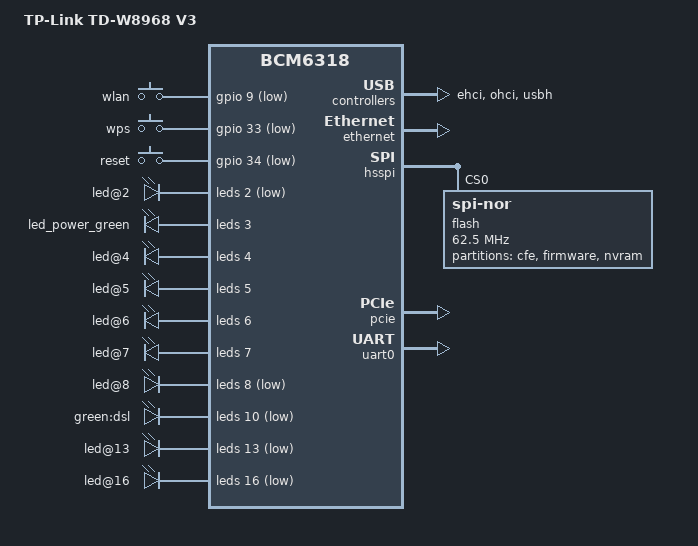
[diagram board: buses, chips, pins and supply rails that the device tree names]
// SPDX-License-Identifier: GPL-2.0-or-later

#include "bcm6318.dtsi"

/ {
	model = "TP-Link TD-W8968 V3";
	compatible = "tp-link,td-w8968-v3", "brcm,bcm6318";

	aliases {
		led-boot = &led_power_green;
		led-failsafe = &led_power_green;
		led-running = &led_power_green;
		led-upgrade = &led_power_green;
	};
	
	keys {
		compatible = "gpio-keys-polled";
		poll-interval = <100>;
		
		wlan {
			label = "wlan";
			gpios = <&gpio 9 GPIO_ACTIVE_LOW>;
			linux,code = <KEY_WLAN>;
			debounce-interval = <60>;
		};

		wps {
			label = "wps";
			gpios = <&gpio 33 GPIO_ACTIVE_LOW>;
			linux,code = <KEY_WPS_BUTTON>;
			debounce-interval = <60>;
		};

		reset {
			label = "reset";
			gpios = <&gpio 34 GPIO_ACTIVE_LOW>;
			linux,code = <KEY_RESTART>;
			debounce-interval = <60>;
		};
	};
	
	bcm43217-sprom {
		compatible = "brcm,bcma-sprom";

		pci-bus = <1>;
		pci-dev = <0>;

		nvmem-cells = <&macaddr_cfe_6a0 1>;
		nvmem-cell-names = "mac-address";

		brcm,sprom = "brcm/bcm43217-sprom.bin";
	};
};

&ehci {
	status = "okay";
};

&ethernet {
	status = "okay";

	nvmem-cells = <&macaddr_cfe_6a0 0>;
	nvmem-cell-names = "mac-address";
};

&hsspi {
	status = "okay";

	flash@0 {
		compatible = "jedec,spi-nor";
		spi-max-frequency = <62500000>;
		spi-tx-bus-width = <2>;
		spi-rx-bus-width = <2>;
		reg = <0>;

		#address-cells = <1>;
		#size-cells = <1>;

		partitions {
			compatible = "fixed-partitions";
			#address-cells = <1>;
			#size-cells = <1>;

			partition@0 {
				reg = <0x000000 0x010000>;
				label = "cfe";
				read-only;

				nvmem-layout {
					compatible = "fixed-layout";
					#address-cells = <1>;
					#size-cells = <1>;

					macaddr_cfe_6a0: macaddr@6a0 {
						compatible = "mac-base";
						reg = <0x6a0 0x6>;
						#nvmem-cell-cells = <1>;
					};
				};
			};

			partition@10000 {
				compatible = "brcm,bcm963xx-imagetag";
				reg = <0x010000 0x7e0000>;
				label = "firmware";
			};

			partition@7f0000 {
				reg = <0x7f0000 0x010000>;
				label = "nvram";
			};
		};
	};
};

&leds {
	status = "okay";

	pinctrl-names = "default";
	pinctrl-0 = <&pinctrl_leds
		     &pinctrl_ephy0_act_led &pinctrl_ephy1_act_led
		     &pinctrl_ephy2_act_led &pinctrl_ephy3_act_led>;

	led@2 {
		reg = <2>;
		active-low;
		function = LED_FUNCTION_WPS;
		color = <LED_COLOR_ID_GREEN>;
	};

	led_power_green: led@3 {
		reg = <3>;
		active-high;
		function = LED_FUNCTION_POWER;
		color = <LED_COLOR_ID_GREEN>;
	};

	led@4 {
		/* EPHY0 Act */
		reg = <4>;
		brcm,hardware-controlled;
		brcm,link-signal-sources = <4>;
	};

	led@5 {
		/* EPHY1 Act */
		reg = <5>;
		brcm,hardware-controlled;
		brcm,link-signal-sources = <5>;
	};

	led@6 {
		/* EPHY2 Act */
		reg = <6>;
		brcm,hardware-controlled;
		brcm,link-signal-sources = <6>;
	};

	led@7 {
		/* EPHY3 Act */
		reg = <7>;
		brcm,hardware-controlled;
		brcm,link-signal-sources = <7>;
	};

	led@8 {
		reg = <8>;
		active-low;
		function = LED_FUNCTION_WAN_ONLINE;
		color = <LED_COLOR_ID_GREEN>;
	};

	led@10 {
		reg = <10>;
		active-low;
		label = "green:dsl";
	};

	led@13 {
		reg = <13>;
		active-low;
		function = LED_FUNCTION_USB;
		color = <LED_COLOR_ID_GREEN>;
	};
	
	led@16 {
		reg = <16>;
		active-low;
		function = LED_FUNCTION_WLAN;
		color = <LED_COLOR_ID_GREEN>;
	};
};

&ohci {
	status = "okay";
};

&pcie {
	status = "okay";
};

&pinctrl {
	pinctrl_leds: leds {
		function = "led";
		pins = "gpio2", "gpio3",
		       "gpio8", "gpio10",
		       "gpio13", "gpio16";
	};
};

&switch0 {
	ports {
		port@0 {
			reg = <0>;
			label = "lan4";

			phy-handle = <&phy1>;
			phy-mode = "mii";
		};

		port@1 {
			reg = <1>;
			label = "lan3";

			phy-handle = <&phy2>;
			phy-mode = "mii";
		};

		port@2 {
			reg = <2>;
			label = "lan2";

			phy-handle = <&phy3>;
			phy-mode = "mii";
		};

		port@3 {
			reg = <3>;
			label = "lan1";

			phy-handle = <&phy4>;
			phy-mode = "mii";
		};
	};
};

&uart0 {
	status = "okay";
};

&usbh {
	status = "okay";
};
